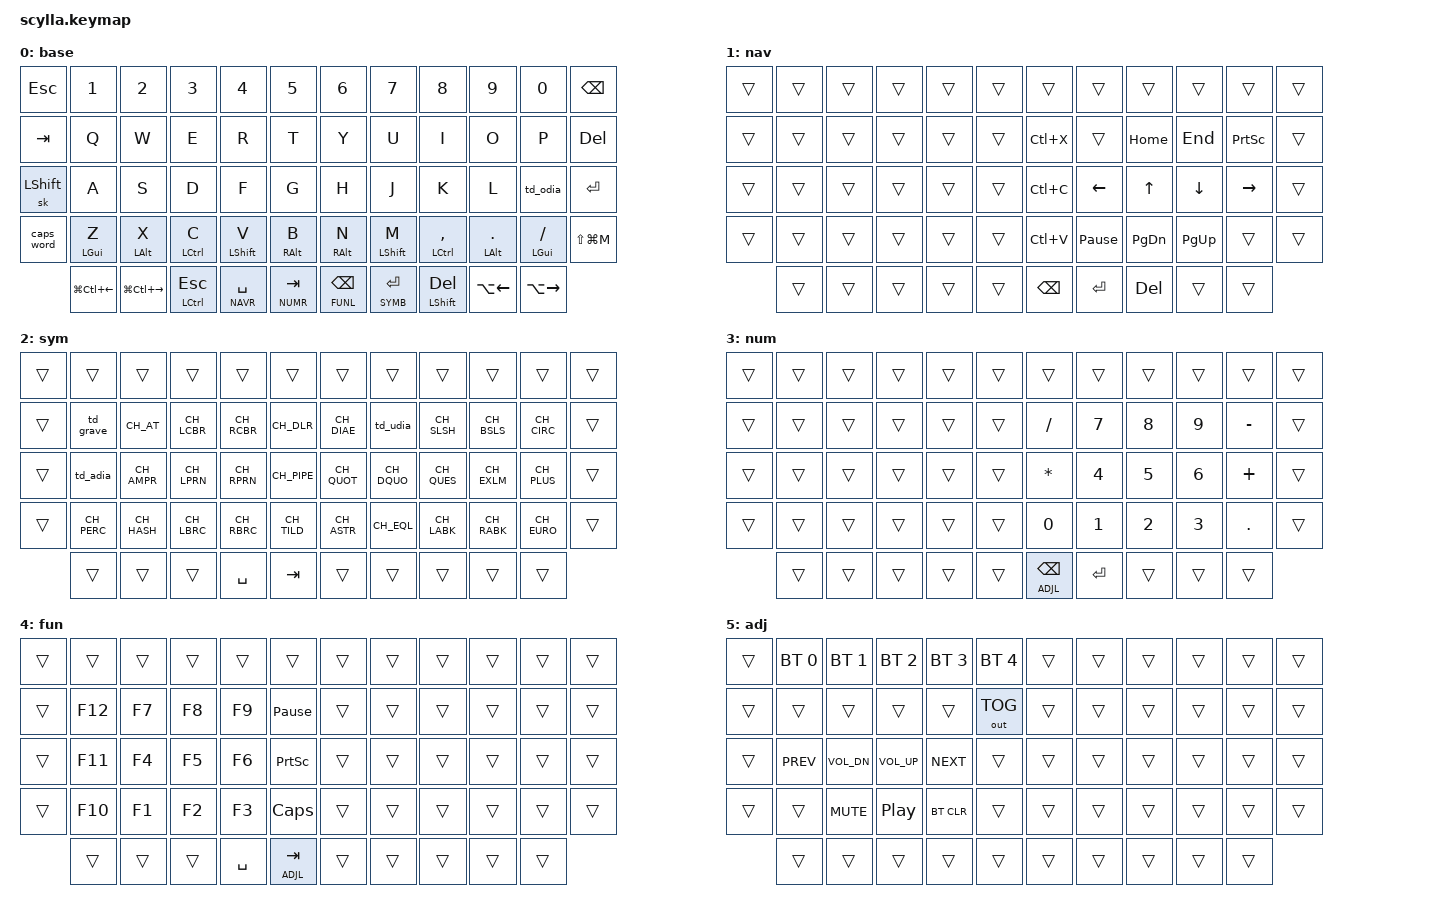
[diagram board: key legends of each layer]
/*
 * Copyright (c) 2021 The ZMK Contributors
 *
 * SPDX-License-Identifier: MIT
 */

#include <behaviors.dtsi>
#include <dt-bindings/zmk/keys.h>
#include <dt-bindings/zmk/bt.h>
#include <dt-bindings/zmk/ext_power.h>
#include <dt-bindings/zmk/outputs.h>

#include "swiss-keymap.h"

#define BASE   0
#define NAVR   1
#define SYMB   2
#define NUMR   3
#define FUNL   4
#define ADJL   5    

/ {
         macros {
        md_code_i: md_code_i {
            label = "MD Code Inline";
            compatible = "zmk,behavior-macro";
            #binding-cells = <0>;
            bindings
                = <&macro_tap_time 50>
                , <&macro_tap &kp CH_GRV>
                , <&macro_tap_time 10>
                , <&macro_tap &kp CH_GRV &kp LEFT>
                ;
        };
        md_code_b: md_code_b {
            label = "MD Code Block";
            compatible = "zmk,behavior-macro";
            #binding-cells = <0>;
            bindings
                = <&macro_tap_time 10>
                , <&macro_tap &kp CH_GRV &kp CH_GRV &kp CH_GRV &kp CH_GRV &kp CH_GRV &kp CH_GRV &kp LEFT &kp LEFT &kp LEFT &kp RET &kp RET &kp UP>
                ;
        };
        up_ch_adia: up_ch_adia {
            label = "Uppercase CH_ADIA";
            compatible = "zmk,behavior-macro";
            #binding-cells = <0>;
            bindings
                = <&macro_tap_time 10>
                , <&macro_tap &kp CLCK &kp CH_ADIA &kp CLCK>
                ;
        };
        up_ch_udia: up_ch_udia {
            label = "Uppercase CH_UDIA";
            compatible = "zmk,behavior-macro";
            #binding-cells = <0>;
            bindings
                = <&macro_tap_time 10>
                , <&macro_tap &kp CLCK &kp CH_UDIA &kp CLCK>
                ;
        };
        
        up_ch_odia: up_ch_odia {
            label = "Uppercase CH_ODIA";
            compatible = "zmk,behavior-macro";
            #binding-cells = <0>;
            bindings
                = <&macro_tap_time 10>
                , <&macro_tap &kp CLCK &kp CH_ODIA &kp CLCK>
                ;
        };
    };
	behaviors {
        hm: homerow_mods {
            compatible = "zmk,behavior-hold-tap";
            label = "HOMEROW_MODS";
            #binding-cells = <2>;
            tapping-term-ms = <180>;
            quick_tap_ms = <0>;
            flavor = "tap-preferred";
            bindings = <&kp>, <&kp>;
        };
         td_udia: tap_dance_udia {
            compatible = "zmk,behavior-tap-dance";
            label = "TAP_DANCE_UDIA";
            #binding-cells = <0>;
            tapping-term-ms = <200>;
            bindings = <&kp CH_UDIA>, <&up_ch_udia>;
        };
         td_adia: tap_dance_adia {
            compatible = "zmk,behavior-tap-dance";
            label = "TAP_DANCE_ADIA";
            #binding-cells = <0>;
            tapping-term-ms = <200>;
            bindings = <&kp CH_ADIA>, <&up_ch_adia>;
        };
         td_odia: tap_dance_odia {
            compatible = "zmk,behavior-tap-dance";
            label = "TAP_DANCE_ODIA";
            #binding-cells = <0>;
            tapping-term-ms = <200>;
            bindings = <&kp CH_ODIA>, <&up_ch_odia>;
        };
        td_grave: tap_dance_grave {
            compatible = "zmk,behavior-tap-dance";
            label = "TAP_DANCE_GRAVE";
            #binding-cells = <0>;
            tapping-term-ms = <300>;
            bindings = <&kp CH_GRV>, <&md_code_i>, <&md_code_b>;
        };
    };
// /*
//  *
//  *          ,-----------------------------.                                ,-----------------------------.
//  *          | 00 | 01 | 02 | 03 | 04 | 05 |                                | 06 | 07 | 08 | 09 | 10 | 11 |
//  *          ,----+----+----+----+----+----|                                |----+----+----+----+----+----.
//  *          | 12 | 13 | 14 | 15 | 16 | 17 |                                | 18 | 19 | 20 | 21 | 22 | 23 |
//  *          |----+----+----+----+----+----|                                |----+----+----+----+----+----|
//  *          | 24 | 25 | 26 | 27 | 28 | 29 |                                | 30 | 31 | 32 | 33 | 34 | 35 |
//  *          |----+----+----+----+----+----|                                |----+----+----+----+----+----|
//  *          | 36 | 37 | 38 | 39 | 40 | 41 |                                | 42 | 43 | 44 | 45 | 46 | 47 |
//  *          `---------+----+----+----+----+----.                      ,----+----+----+----+----+---------'
//  *                    | 48 | 49 | 50 | 51 | 52 |                      | 53 | 54 | 55 | 56 | 57 |
//  *                    `------------------------'                      `------------------------'
//  */

    combos {
        compatible = "zmk,combos";
        combo_caps_word {
            timeout-ms = <50>;
            key-positions = <40 43>;
            bindings = <&caps_word>;
        };
    };
    keymap {
        compatible = "zmk,keymap";
        base {
            label = "base";
            bindings = <
                &kp ESC       &kp N1           &kp N2            &kp N3        &kp N4         &kp N5                   &kp N6        &kp N7         &kp N8          &kp N9        &kp N0        &kp BSPC
                &kp TAB       &kp Q            &kp W             &kp E         &kp R          &kp T                    &kp Y         &kp U          &kp I           &kp O         &kp P         &kp DEL
                &sk LSHIFT    &kp A            &kp S             &kp D         &kp F          &kp G                    &kp H         &kp J          &kp K           &kp L         &td_odia      &kp ENTER
                &caps_word    &hm LGUI Z       &hm LALT X        &hm LCTRL C   &hm LSHFT V    &hm RALT B               &hm RALT N    &hm LSHFT M    &hm LCTRL COMMA &hm LALT DOT  &hm LGUI FSLH &kp LS(LG(M))
                              &kp LG(LC(LEFT)) &kp LG(LC(RIGHT)) &mt LCTRL ESC &lt NAVR SPACE &lt NUMR TAB             &lt FUNL BSPC &lt SYMB RET   &mt LSHIFT DEL  &kp LA(LEFT)  &kp LA(RIGHT)
            >;
        };
        navr {
            label = "nav";
            bindings = <
                &trans        &trans         &trans         &trans          &trans         &trans                   &trans         &trans          &trans         &trans         &trans         &trans
                &trans        &trans         &trans         &trans          &trans         &trans                   &kp LC(X)      &trans          &kp HOME       &kp END        &kp PSCRN      &trans
                &trans        &trans         &trans         &trans          &trans         &trans                   &kp LC(C)      &kp LEFT        &kp UP         &kp DOWN       &kp RIGHT      &trans
                &trans        &trans         &trans         &trans          &trans         &trans                   &kp LC(V)      &kp PAUSE_BREAK &kp PG_DN      &kp PG_UP      &trans         &trans
                              &trans         &trans         &trans          &trans         &trans                   &kp BSPC       &kp RET         &kp DEL        &trans         &trans 
            >;
        };
        symb {
            label = "sym";
            bindings = <
                &trans        &trans         &trans         &trans          &trans         &trans                   &trans         &trans         &trans         &trans         &trans         &trans
                &trans        &td_grave      &kp CH_AT      &kp CH_LCBR     &kp CH_RCBR    &kp CH_DLR               &kp CH_DIAE    &td_udia       &kp CH_SLSH    &kp CH_BSLS    &kp CH_CIRC    &trans
                &trans        &td_adia       &kp CH_AMPR    &kp CH_LPRN     &kp CH_RPRN    &kp CH_PIPE              &kp CH_QUOT    &kp CH_DQUO    &kp CH_QUES    &kp CH_EXLM    &kp CH_PLUS    &trans
                &trans        &kp CH_PERC    &kp CH_HASH    &kp CH_LBRC     &kp CH_RBRC    &kp CH_TILD              &kp CH_ASTR    &kp CH_EQL     &kp CH_LABK    &kp CH_RABK    &kp CH_EURO    &trans
                              &trans         &trans         &trans          &kp SPACE      &kp TAB                  &trans         &trans         &trans         &trans         &trans 
            >;
        };
        numr {
            label = "num";
            bindings = <
                &trans        &trans         &trans         &trans          &trans         &trans                   &trans         &trans         &trans         &trans         &trans         &trans
                &trans        &trans         &trans         &trans          &trans         &trans                   &kp SLASH      &kp N7         &kp N8         &kp N9         &kp MINUS      &trans
                &trans        &trans         &trans         &trans          &trans         &trans                   &kp ASTRK      &kp N4         &kp N5         &kp N6         &kp PLUS       &trans
                &trans        &trans         &trans         &trans          &trans         &trans                   &kp N0         &kp N1         &kp N2         &kp N3         &kp DOT        &trans
                              &trans         &trans         &trans          &trans         &trans                   &lt ADJL BSPC  &kp RET        &trans         &trans         &trans 
            >;
        };
        funl {
            label = "fun";
            bindings = <
                &trans        &trans         &trans         &trans          &trans         &trans                   &trans         &trans         &trans         &trans         &trans         &trans
                &trans        &kp F12        &kp F7         &kp F8          &kp F9         &kp PAUSE_BREAK          &trans         &trans         &trans         &trans         &trans         &trans
                &trans        &kp F11        &kp F4         &kp F5          &kp F6         &kp PSCRN                &trans         &trans         &trans         &trans         &trans         &trans
                &trans        &kp F10        &kp F1         &kp F2          &kp F3         &kp CLCK                 &trans         &trans         &trans         &trans         &trans         &trans
                              &trans         &trans         &trans          &kp SPACE      &lt ADJL TAB             &trans         &trans         &trans         &trans         &trans 
            >;
        };
        adjl {
            label = "adj";
            bindings = <
                &trans        &bt BT_SEL 0   &bt BT_SEL 1   &bt BT_SEL 2    &bt BT_SEL 3   &bt BT_SEL 4             &trans         &trans         &trans         &trans         &trans         &trans
                &trans        &trans         &trans         &trans          &trans         &out OUT_TOG             &trans         &trans         &trans         &trans         &trans         &trans
                &trans        &kp C_PREV     &kp C_VOL_DN   &kp C_VOL_UP    &kp C_NEXT     &trans                   &trans         &trans         &trans         &trans         &trans         &trans
                &trans        &trans         &kp K_MUTE     &kp C_PP        &bt BT_CLR     &trans                   &trans         &trans         &trans         &trans         &trans         &trans
                              &trans         &trans         &trans          &trans         &trans                   &trans         &trans         &trans         &trans         &trans 
            >;
        };
    };
};

// -------------------------------------------------------- TEMPLATE -------------------------------------------------------------------------------------
// /*
//  * Layer
//  *
//  *          ,-----------------------------------------.                                               ,-----------------------------------------.
//  *          |      |      |      |      |      |      |                                               |      |      |      |      |      |      |
//  *          |      |      |      |      |      |      |                                               |      |      |      |      |      |      |
//  *          |------+------+------+------+------+------|                                               |------+------+------+------+------+------|
//  *          |      |      |      |      |      |      |                                               |      |      |      |      |      |      |
//  *          |      |      |      |      |      |      |                                               |      |      |      |      |      |      |
//  *          |------+------+------+------+------+------|                                               |------+------+------+------+------+------|
//  *          |      |      |      |      |      |      |                                               |      |      |      |      |      |      |
//  *          |      |      |      |      |      |      |                                               |      |      |      |      |      |      |
//  *          |------+------+------+------+------+------|                                               |------+------+------+------+------+------|
//  *          |      |      |      |      |      |      |                                               |      |      |      |      |      |      |
//  *          |      |      |      |      |      |      |                                               |      |      |      |      |      |      |
//  *          `-------------+------+------+------+------+------.                                 ,------+------+------+------+------+-------------'
//  *                        |      |      |      |      |      |                                 |      |      |      |      |      |
//  *                        |      |      |      |      |      |                                 |      |      |      |      |      |
//  *                        `----------------------------------'                                 `----------------------------------'
//  */
/*
        layer {
            label = "LAYER";
            bindings = <
                &trans        &trans         &trans         &trans          &trans         &trans                   &trans         &trans         &trans         &trans         &trans         &trans
                &trans        &trans         &trans         &trans          &trans         &trans                   &trans         &trans         &trans         &trans         &trans         &trans
                &trans        &trans         &trans         &trans          &trans         &trans                   &trans         &trans         &trans         &trans         &trans         &trans
                &trans        &trans         &trans         &trans          &trans         &trans                   &trans         &trans         &trans         &trans         &trans         &trans
                              &trans         &trans         &trans          &trans         &trans                   &trans         &trans         &trans         &trans         &trans 
            >;
        };
*/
